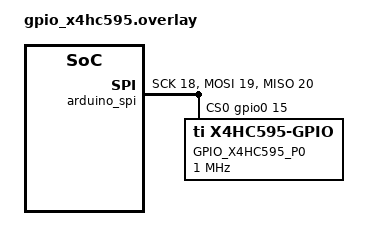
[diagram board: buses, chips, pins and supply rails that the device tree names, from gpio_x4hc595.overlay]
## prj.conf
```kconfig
CONFIG_GPIO=y
CONFIG_SPI=y
CONFIG_SPI_NRFX=y
CONFIG_SOC_NRF52832_ALLOW_SPIM_DESPITE_PAN_58=y
CONFIG_SPI_2=y
CONFIG_GPIO_X4HC595=y
CONFIG_GPIO_X4HC595_P0=y

#CONFIG_PRINTK=y

CONFIG_SHELL=y
CONFIG_DEVICE_SHELL=y
CONFIG_KERNEL_SHELL=y
CONFIG_GPIO_SHELL=y

CONFIG_GPIO_LOG_LEVEL_DBG=y
CONFIG_SPI_LOG_LEVEL_DBG=y
CONFIG_LOG=y
CONFIG_LOG_PRINTK=y
```

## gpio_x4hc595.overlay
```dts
/*
 * Copyright (c) 2020 Nick Ward
 *
 * SPDX-License-Identifier: Apache-2.0
 */

&spi0 {
	status = "disabled";
};

&spi1 {
	status = "disabled";
};

&arduino_spi {
	status = "okay";
	cs-gpios = <&gpio0 15 0>; /* D4 */
	sck-pin = <18>; /* D7 */
	mosi-pin = <19>; /* D8 */
	miso-pin = <20>; /* D9 */
	gpio_x4hc595_0: gpio-x4hc595@0 {
		compatible = "ti,x4hc595-gpio";
		spi-max-frequency = <1000000>;
		#oe-gpios = <&arduino_header 19 GPIO_ACTIVE_LOW>; /* D13 */
		status = "okay";
		label = "GPIO_X4HC595_P0";
		sr-cnt = <2>;
		reg = <0x0>;
		#gpio-cells = <2>;

		#address-cells = <1>;
		#size-cells = <0>;
	};
};
```

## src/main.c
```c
/*
 * Copyright (c) 2016 Intel Corporation
 *
 * SPDX-License-Identifier: Apache-2.0
 */

#include <zephyr.h>
#include <device.h>
#include <devicetree.h>
#include <drivers/gpio.h>

/* 1000 msec = 1 sec */
#define SLEEP_TIME_MS   1000

/* The devicetree node identifier for the "led0" alias. */
#define LED0_NODE DT_ALIAS(led0)

#if DT_HAS_NODE(LED0_NODE)
#define LED0	DT_GPIO_LABEL(LED0_NODE, gpios)
#define PIN	24//DT_GPIO_PIN(LED0_NODE, gpios)
#if DT_PHA_HAS_CELL(LED0_NODE, gpios, flags)
#define FLAGS	DT_GPIO_FLAGS(LED0_NODE, gpios)
#endif
#else
/* A build error here means your board isn't set up to blink an LED. */
#error "Unsupported board: led0 devicetree alias is not defined"
#define LED0	""
#define PIN	23
#endif

#ifndef FLAGS
#define FLAGS	0
#endif

void main(void)
{
	struct device *dev;
	bool led_is_on = true;
	int ret;

	dev = device_get_binding("GPIO_X4HC595_P0");
	if (dev != NULL) {
		printk("Found GPIO_X4HC595_P0 driver\n");
	} else {
		printk("No GPIO_X4HC595_P0 driver\n");
	}

	ret = gpio_port_clear_bits_raw(dev, 0xFFFFFFFF);
	printk("No gpio_port_clear_bits_raw [%d]\n", ret);

	dev = device_get_binding(LED0);
	if (dev == NULL) {
		return;
	}

	ret = gpio_pin_configure(dev, PIN, GPIO_OUTPUT_ACTIVE | FLAGS);
	if (ret < 0) {
		return;
	}

	while (1) {
		gpio_pin_set(dev, PIN, (int)led_is_on);
		led_is_on = !led_is_on;
		k_msleep(SLEEP_TIME_MS);
	}
}
```
